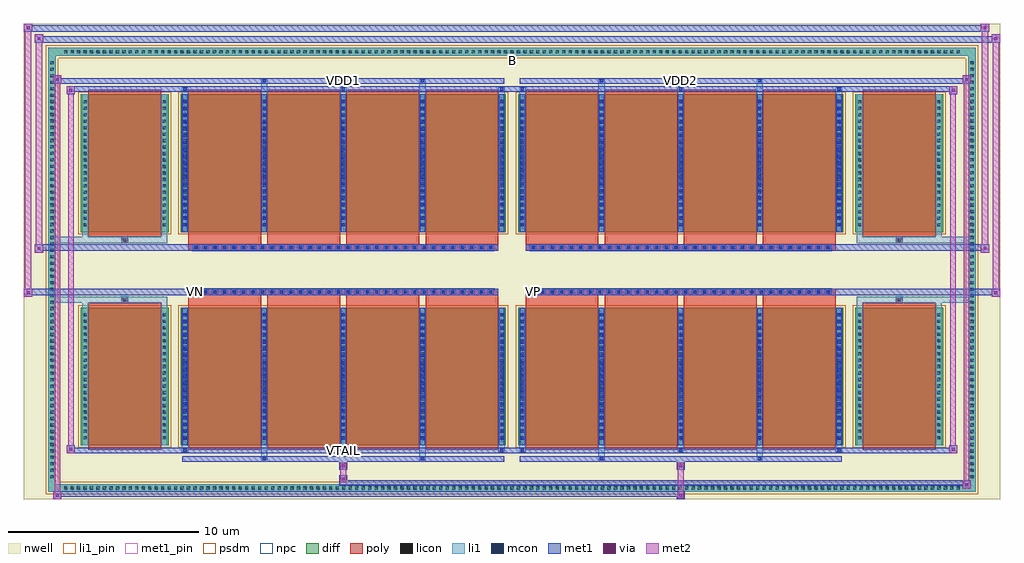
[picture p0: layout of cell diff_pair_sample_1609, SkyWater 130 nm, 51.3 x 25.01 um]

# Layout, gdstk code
import gdstk
lib = gdstk.Library(unit=1e-6, precision=5e-09)
def R(c, l, rs):  # rectangles x0, y0, x1, y1
    for r in rs: c.add(gdstk.rectangle(r[:2], r[2:], *l))
def A(c, l, x, y, w, h, nx, ny, dx, dy):  # array of equal rectangles
    R(c, l, [(x+i*dx, y+j*dy, x+i*dx+w, y+j*dy+h) for i in range(nx) for j in range(ny)])
def P(c, l, *ps):  # polygons
    for p in ps: c.add(gdstk.Polygon(p, *l))
nwell = (64, 20)
diff = (65, 20)
poly = (66, 20)
licon = (66, 44)
li1_pin = (67, 16)
li1 = (67, 20)
mcon = (67, 44)
met1_pin = (68, 16)
met1 = (68, 20)
via = (68, 44)
met2 = (69, 20)
psdm = (94, 20)
npc = (95, 20)

diff_pair_sample_1609 = lib.new_cell('diff_pair_sample_1609')
R(diff_pair_sample_1609, nwell, [(-25.65,-12.07,25.65,12.94), (-22.97,-10.26,-0.01,-0.8), (0.01,-10.26,22.97,-0.8), (-22.97,0.8,-0.01,10.26), (0.01,0.8,22.97,10.26)])
A(diff_pair_sample_1609, diff, -23.665, -11.67, 0.41, 0.41, 139, 2, 0.34, 22.93)
A(diff_pair_sample_1609, diff, -24.38, -11.085, 0.41, 0.41, 1, 65, 0, 0.34)
A(diff_pair_sample_1609, diff, 23.97, -11.085, 0.41, 0.41, 1, 65, 0, 0.34)
R(diff_pair_sample_1609, diff, [(-23.665,-11.67,23.665,-11.26), (-24.38,-11.085,-23.97,11.085), (23.97,-11.085,24.38,11.085), (-22.66,-9.215,-18.05,-1.985), (-17.41,-9.215,-0.32,-1.985), (0.32,-9.215,17.41,-1.985), (18.05,-9.215,22.66,-1.985), (-22.66,1.985,-18.05,9.215), (-17.41,1.985,-0.32,9.215), (0.32,1.985,17.41,9.215), (18.05,1.985,22.66,9.215), (-23.665,11.26,23.665,11.67)])
P(diff_pair_sample_1609, diff, [(24.38,11.67),(-24.38,11.67),(-24.38,-11.26),(-23.97,-11.26),(-23.97,11.26),(23.97,11.26),(23.97,-11.26),(-23.97,-11.26),(-24.38,-11.26),(-24.38,-11.67),(24.38,-11.67)])
A(diff_pair_sample_1609, poly, -17.02, -9.465, 3.83, 7.73, 4, 2, 4.16, 11.2)
A(diff_pair_sample_1609, poly, 0.71, -9.465, 3.83, 7.73, 4, 2, 4.16, 11.2)
A(diff_pair_sample_1609, poly, -17.02, -1.735, 3.83, 0.405, 4, 2, 4.16, 3.065)
A(diff_pair_sample_1609, poly, 0.71, -1.735, 3.83, 0.405, 4, 2, 4.16, 3.065)
A(diff_pair_sample_1609, poly, -16.78, -1.33, 0.33, 0.33, 32, 2, 0.5, 2.33)
A(diff_pair_sample_1609, poly, 0.95, -1.33, 0.33, 0.33, 32, 2, 0.5, 2.33)
R(diff_pair_sample_1609, poly, [(-22.27,-9.465,-18.44,-1.735), (18.44,-9.465,22.27,-1.735), (-20.52,-1.735,-20.19,-1.405), (-20.52,-1.735,-20.19,-1.405), (20.19,-1.735,20.52,-1.405), (20.19,-1.735,20.52,-1.405), (-17.02,-1.33,-0.71,-1), (0.71,-1.33,17.02,-1), (-17.02,1,-0.71,1.33), (0.71,1,17.02,1.33), (-20.52,1.405,-20.19,1.735), (-20.52,1.405,-20.19,1.735), (20.19,1.405,20.52,1.735), (20.19,1.405,20.52,1.735), (-22.27,1.735,-18.44,9.465), (18.44,1.735,22.27,9.465)])
A(diff_pair_sample_1609, licon, -23.545, -11.55, 0.17, 0.17, 139, 2, 0.34, 22.93)
A(diff_pair_sample_1609, licon, -24.26, -10.965, 0.17, 0.17, 1, 65, 0, 0.34)
A(diff_pair_sample_1609, licon, 24.09, -10.965, 0.17, 0.17, 1, 65, 0, 0.34)
A(diff_pair_sample_1609, licon, -22.52, -8.915, 0.17, 0.17, 1, 20, 0, 0.34)
A(diff_pair_sample_1609, licon, -18.36, -8.915, 0.17, 0.17, 1, 20, 0, 0.34)
A(diff_pair_sample_1609, licon, -17.27, -8.915, 0.17, 0.17, 5, 20, 4.16, 0.34)
A(diff_pair_sample_1609, licon, 0.46, -8.915, 0.17, 0.17, 5, 20, 4.16, 0.34)
A(diff_pair_sample_1609, licon, 18.19, -8.915, 0.17, 0.17, 1, 20, 0, 0.34)
A(diff_pair_sample_1609, licon, 22.35, -8.915, 0.17, 0.17, 1, 20, 0, 0.34)
A(diff_pair_sample_1609, licon, -16.7, -1.25, 0.17, 0.17, 32, 2, 0.5, 2.33)
A(diff_pair_sample_1609, licon, 1.03, -1.25, 0.17, 0.17, 32, 2, 0.5, 2.33)
A(diff_pair_sample_1609, licon, -22.52, 2.285, 0.17, 0.17, 1, 20, 0, 0.34)
A(diff_pair_sample_1609, licon, -18.36, 2.285, 0.17, 0.17, 1, 20, 0, 0.34)
A(diff_pair_sample_1609, licon, -17.27, 2.285, 0.17, 0.17, 5, 20, 4.16, 0.34)
A(diff_pair_sample_1609, licon, 0.46, 2.285, 0.17, 0.17, 5, 20, 4.16, 0.34)
A(diff_pair_sample_1609, licon, 18.19, 2.285, 0.17, 0.17, 1, 20, 0, 0.34)
A(diff_pair_sample_1609, licon, 22.35, 2.285, 0.17, 0.17, 1, 20, 0, 0.34)
R(diff_pair_sample_1609, licon, [(-20.44,-1.655,-20.27,-1.485), (20.27,-1.655,20.44,-1.485), (-20.44,1.485,-20.27,1.655), (20.27,1.485,20.44,1.655)])
R(diff_pair_sample_1609, li1_pin, [(-0.25,10.76,0.25,11.26)])
A(diff_pair_sample_1609, li1, -23.625, -11.63, 0.33, 0.33, 139, 2, 0.34, 22.93)
A(diff_pair_sample_1609, li1, -24.34, -11.045, 0.33, 0.33, 1, 65, 0, 0.34)
A(diff_pair_sample_1609, li1, 24.01, -11.045, 0.33, 0.33, 1, 65, 0, 0.34)
A(diff_pair_sample_1609, li1, -17.35, -9.59, 0.33, 0.375, 3, 2, 8.32, 18.805)
A(diff_pair_sample_1609, li1, -17.27, -9.59, 0.17, 0.17, 3, 2, 8.32, 19.01)
A(diff_pair_sample_1609, li1, 0.38, -9.59, 0.33, 0.375, 3, 2, 8.32, 18.805)
A(diff_pair_sample_1609, li1, 0.46, -9.59, 0.17, 0.17, 3, 2, 8.32, 19.01)
A(diff_pair_sample_1609, li1, -17.35, -9.215, 0.33, 7.23, 5, 2, 4.16, 11.2)
A(diff_pair_sample_1609, li1, 0.38, -9.215, 0.33, 7.23, 5, 2, 4.16, 11.2)
A(diff_pair_sample_1609, li1, -22.6, -8.995, 0.33, 0.33, 1, 20, 0, 0.34)
A(diff_pair_sample_1609, li1, -18.44, -8.995, 0.33, 0.33, 1, 20, 0, 0.34)
A(diff_pair_sample_1609, li1, -17.35, -8.995, 0.33, 0.33, 5, 20, 4.16, 0.34)
A(diff_pair_sample_1609, li1, 0.38, -8.995, 0.33, 0.33, 5, 20, 4.16, 0.34)
A(diff_pair_sample_1609, li1, 18.11, -8.995, 0.33, 0.33, 1, 20, 0, 0.34)
A(diff_pair_sample_1609, li1, 22.27, -8.995, 0.33, 0.33, 1, 20, 0, 0.34)
A(diff_pair_sample_1609, li1, -17.27, -8.925, 0.17, 0.17, 5, 19, 4.16, 0.36)
A(diff_pair_sample_1609, li1, -17.27, -8.925, 0.17, 6.65, 5, 2, 4.16, 11.2)
A(diff_pair_sample_1609, li1, 0.46, -8.925, 0.17, 0.17, 5, 19, 4.16, 0.36)
A(diff_pair_sample_1609, li1, 0.46, -8.925, 0.17, 6.65, 5, 2, 4.16, 11.2)
A(diff_pair_sample_1609, li1, -16.78, -1.33, 0.33, 0.33, 32, 2, 0.5, 2.33)
A(diff_pair_sample_1609, li1, 0.95, -1.33, 0.33, 0.33, 32, 2, 0.5, 2.33)
A(diff_pair_sample_1609, li1, -22.6, 2.205, 0.33, 0.33, 1, 20, 0, 0.34)
A(diff_pair_sample_1609, li1, -18.44, 2.205, 0.33, 0.33, 1, 20, 0, 0.34)
A(diff_pair_sample_1609, li1, -17.35, 2.205, 0.33, 0.33, 5, 20, 4.16, 0.34)
A(diff_pair_sample_1609, li1, 0.38, 2.205, 0.33, 0.33, 5, 20, 4.16, 0.34)
A(diff_pair_sample_1609, li1, 18.11, 2.205, 0.33, 0.33, 1, 20, 0, 0.34)
A(diff_pair_sample_1609, li1, 22.27, 2.205, 0.33, 0.33, 1, 20, 0, 0.34)
A(diff_pair_sample_1609, li1, -17.27, 2.275, 0.17, 0.17, 5, 19, 4.16, 0.36)
A(diff_pair_sample_1609, li1, 0.46, 2.275, 0.17, 0.17, 5, 19, 4.16, 0.36)
R(diff_pair_sample_1609, li1, [(-24.38,-11.67,-23.97,-11.26), (-24.38,-11.67,-23.97,-11.26), (-23.97,-11.67,23.97,-11.26), (23.97,-11.67,24.38,-11.26), (23.97,-11.67,24.38,-11.26), (-24.38,-11.26,-23.97,11.26), (23.97,-11.26,24.38,11.26), (-13.19,-10.02,-12.86,-9.215), (-13.11,-10.02,-12.94,-9.85), (-4.87,-10.02,-4.54,-9.215), (-4.79,-10.02,-4.62,-9.85), (4.54,-10.02,4.87,-9.215), (4.62,-10.02,4.79,-9.85), (12.86,-10.02,13.19,-9.215), (12.94,-10.02,13.11,-9.85), (-22.6,-9.215,-22.27,-1.985), (-18.44,-9.215,-18.11,-1.985), (18.11,-9.215,18.44,-1.985), (22.27,-9.215,22.6,-1.985), (-22.6,-1.985,-22.27,-1.405), (-18.44,-1.985,-18.11,-1.405), (18.11,-1.985,18.44,-1.405), (22.27,-1.985,22.6,-1.405), (-24.38,-1.735,-20.52,-1.405), (-22.6,-1.735,-20.52,-1.405), (-20.52,-1.735,-20.19,-1.405), (-20.19,-1.735,-18.11,-1.405), (18.11,-1.735,20.19,-1.405), (20.19,-1.735,20.52,-1.405), (20.19,-1.735,24.38,-1.405), (20.52,-1.735,22.6,-1.405), (-24.38,1.405,-20.52,1.735), (-22.6,1.405,-20.52,1.735), (-22.6,1.405,-22.27,1.985), (-20.52,1.405,-20.19,1.735), (-20.19,1.405,-18.11,1.735), (-18.44,1.405,-18.11,1.985), (18.11,1.405,20.19,1.735), (18.11,1.405,18.44,1.985), (20.19,1.405,20.52,1.735), (20.19,1.405,24.38,1.735), (20.52,1.405,22.6,1.735), (22.27,1.405,22.6,1.985), (-22.6,1.985,-22.27,9.215), (-18.44,1.985,-18.11,9.215), (18.11,1.985,18.44,9.215), (22.27,1.985,22.6,9.215), (-13.19,9.215,-12.86,10.02), (-4.87,9.215,-4.54,10.02), (4.54,9.215,4.87,10.02), (12.86,9.215,13.19,10.02), (-13.11,9.85,-12.94,10.02), (-4.79,9.85,-4.62,10.02), (4.62,9.85,4.79,10.02), (12.94,9.85,13.11,10.02), (-24.38,11.26,-23.97,11.67), (-24.38,11.26,-23.97,11.67), (-23.97,11.26,23.97,11.67), (23.97,11.26,24.38,11.67), (23.97,11.26,24.38,11.67)])
A(diff_pair_sample_1609, mcon, -17.27, -9.59, 0.17, 0.17, 3, 2, 8.32, 19.01)
A(diff_pair_sample_1609, mcon, 0.46, -9.59, 0.17, 0.17, 3, 2, 8.32, 19.01)
A(diff_pair_sample_1609, mcon, -17.27, -8.925, 0.17, 0.17, 5, 19, 4.16, 0.36)
A(diff_pair_sample_1609, mcon, 0.46, -8.925, 0.17, 0.17, 5, 19, 4.16, 0.36)
A(diff_pair_sample_1609, mcon, -16.7, -1.25, 0.17, 0.17, 32, 2, 0.5, 2.33)
A(diff_pair_sample_1609, mcon, 1.03, -1.25, 0.17, 0.17, 32, 2, 0.5, 2.33)
A(diff_pair_sample_1609, mcon, -17.27, 2.275, 0.17, 0.17, 5, 19, 4.16, 0.36)
A(diff_pair_sample_1609, mcon, 0.46, 2.275, 0.17, 0.17, 5, 19, 4.16, 0.36)
R(diff_pair_sample_1609, mcon, [(-13.11,-10.02,-12.94,-9.85), (-4.79,-10.02,-4.62,-9.85), (4.62,-10.02,4.79,-9.85), (12.94,-10.02,13.11,-9.85), (-13.11,9.85,-12.94,10.02), (-4.79,9.85,-4.62,10.02), (4.62,9.85,4.79,10.02), (12.94,9.85,13.11,10.02)])
R(diff_pair_sample_1609, met1_pin, [(-9,-9.63,-8.73,-9.36), (-16.75,-1.29,-16.48,-1.02), (0.98,-1.29,1.25,-1.02), (-9,9.81,-8.73,10.08), (8.73,9.81,9,10.08)])
A(diff_pair_sample_1609, met1, -17.33, -9.65, 0.29, 0.29, 3, 2, 8.32, 19.01)
A(diff_pair_sample_1609, met1, 0.4, -9.65, 0.29, 0.29, 3, 2, 8.32, 19.01)
A(diff_pair_sample_1609, met1, -17.33, -9.215, 0.29, 7.23, 5, 2, 4.16, 11.2)
A(diff_pair_sample_1609, met1, 0.4, -9.215, 0.29, 7.23, 5, 2, 4.16, 11.2)
A(diff_pair_sample_1609, met1, -17.33, -8.985, 0.29, 0.29, 5, 19, 4.16, 0.36)
A(diff_pair_sample_1609, met1, 0.4, -8.985, 0.29, 0.29, 5, 19, 4.16, 0.36)
A(diff_pair_sample_1609, met1, -16.76, -1.31, 0.29, 0.29, 32, 2, 0.5, 2.33)
A(diff_pair_sample_1609, met1, 0.97, -1.31, 0.29, 0.29, 32, 2, 0.5, 2.33)
A(diff_pair_sample_1609, met1, -17.33, 2.215, 0.29, 0.29, 5, 19, 4.16, 0.36)
A(diff_pair_sample_1609, met1, 0.4, 2.215, 0.29, 0.29, 5, 19, 4.16, 0.36)
R(diff_pair_sample_1609, met1, [(-24.11,-12.07,-23.68,-11.64), (8.65,-12.07,9.08,-11.64), (-24.11,-11.93,9.08,-11.64), (23.68,-11.5,24.11,-11.07), (-9.08,-11.36,24.11,-11.07), (-9.08,-11.22,-8.65,-10.79), (-9.08,-10.51,-8.65,-10.08), (8.65,-10.51,9.08,-10.08), (-17.33,-10.08,-0.4,-9.79), (-13.17,-10.08,-12.88,-9.79), (-4.85,-10.08,-4.56,-9.79), (0.4,-10.08,17.33,-9.79), (4.56,-10.08,4.85,-9.79), (12.88,-10.08,13.17,-9.79), (-23.4,-9.65,-22.97,-9.22), (-23.4,-9.65,-17.33,-9.36), (-17.33,-9.65,-0.4,-9.36), (-0.4,-9.65,0.4,-9.36), (0.4,-9.65,17.33,-9.36), (17.33,-9.65,23.4,-9.36), (22.97,-9.65,23.4,-9.22), (-25.65,-1.43,-25.22,-1), (25.22,-1.43,25.65,-1), (-25.65,-1.33,-0.71,-1), (-17.02,-1.33,-0.71,-1), (0.71,-1.33,17.02,-1), (0.71,-1.33,25.65,-1), (-25.08,0.9,-24.65,1.33), (24.65,0.9,25.08,1.33), (-25.08,1,-17.02,1.33), (-17.02,1,-0.71,1.33), (0.71,1,17.02,1.33), (17.02,1,25.08,1.33), (-23.4,9.22,-22.97,9.65), (22.97,9.22,23.4,9.65), (-23.4,9.36,-17.33,9.65), (-17.33,9.36,-0.4,9.65), (-0.4,9.36,0.4,9.65), (0.4,9.36,17.33,9.65), (17.33,9.36,23.4,9.65), (-24.11,9.79,-23.68,10.22), (-24.11,9.79,-17.33,10.08), (-17.33,9.79,-0.4,10.08), (-13.17,9.79,-12.88,10.08), (-4.85,9.79,-4.56,10.08), (0.4,9.79,17.33,10.08), (4.56,9.79,4.85,10.08), (12.88,9.79,13.17,10.08), (17.33,9.79,24.11,10.08), (23.68,9.79,24.11,10.22), (-25.08,11.94,-24.65,12.37), (-25.08,11.94,-22.97,12.27), (-22.97,11.94,22.97,12.27), (22.97,11.94,25.65,12.27), (25.22,11.94,25.65,12.37), (-25.65,12.51,-25.22,12.94), (-25.65,12.51,-22.97,12.84), (-22.97,12.51,22.97,12.84), (22.97,12.51,25.08,12.84), (24.65,12.51,25.08,12.94)])
R(diff_pair_sample_1609, via, [(-23.97,-11.93,-23.82,-11.78), (8.79,-11.93,8.94,-11.78), (23.82,-11.36,23.97,-11.21), (-8.94,-11.08,-8.79,-10.93), (-8.94,-10.37,-8.79,-10.22), (8.79,-10.37,8.94,-10.22), (-23.26,-9.51,-23.11,-9.36), (23.11,-9.51,23.26,-9.36), (-25.51,-1.29,-25.36,-1.14), (25.36,-1.29,25.51,-1.14), (-24.94,1.04,-24.79,1.19), (24.79,1.04,24.94,1.19), (-23.26,9.36,-23.11,9.51), (23.11,9.36,23.26,9.51), (-23.97,9.93,-23.82,10.08), (23.82,9.93,23.97,10.08), (-24.94,12.08,-24.79,12.23), (25.36,12.08,25.51,12.23), (-25.51,12.65,-25.36,12.8), (24.79,12.65,24.94,12.8)])
R(diff_pair_sample_1609, met2, [(-24.11,-12.07,-23.68,-11.64), (-24.04,-12.07,-23.75,10.22), (-23.75,-12.07,-23.68,-11.64), (-24.06,-12.02,-23.73,-11.69), (8.7,-12.02,9.03,-11.69), (8.7,-11.69,9.03,-10.46), (23.68,-11.5,24.11,-11.07), (23.75,-11.5,24.04,10.22), (24.04,-11.5,24.11,-11.07), (23.73,-11.45,24.06,-11.12), (-9.03,-11.17,-8.7,-10.84), (-9.03,-10.84,-8.7,-10.46), (-9.03,-10.46,-8.7,-10.13), (8.7,-10.46,9.03,-10.13), (-23.4,-9.65,-22.97,-9.22), (-23.33,-9.65,-23.04,9.65), (-23.04,-9.65,-22.97,-9.22), (22.97,-9.65,23.4,-9.22), (23.04,-9.65,23.33,9.65), (23.33,-9.65,23.4,-9.22), (-23.35,-9.6,-23.02,-9.27), (23.02,-9.6,23.35,-9.27), (-25.65,-1.43,-25.22,-1), (-25.6,-1.43,-25.27,12.94), (-25.27,-1.43,-25.22,-1), (25.22,-1.43,25.65,-1), (25.27,-1.43,25.6,12.37), (25.6,-1.43,25.65,-1), (-25.6,-1.38,-25.27,-1.05), (25.27,-1.38,25.6,-1.05), (-25.08,0.9,-24.65,1.33), (-25.03,0.9,-24.7,12.37), (-24.7,0.9,-24.65,1.33), (24.65,0.9,25.08,1.33), (24.7,0.9,25.03,12.94), (25.03,0.9,25.08,1.33), (-25.03,0.95,-24.7,1.28), (24.7,0.95,25.03,1.28), (-23.4,9.22,-22.97,9.65), (-23.04,9.22,-22.97,9.65), (22.97,9.22,23.4,9.65), (23.33,9.22,23.4,9.65), (-23.35,9.27,-23.02,9.6), (23.02,9.27,23.35,9.6), (-24.11,9.79,-23.68,10.22), (-23.75,9.79,-23.68,10.22), (23.68,9.79,24.11,10.22), (24.04,9.79,24.11,10.22), (-24.06,9.84,-23.73,10.17), (23.73,9.84,24.06,10.17), (-25.08,11.94,-24.65,12.37), (-24.7,11.94,-24.65,12.37), (25.22,11.94,25.65,12.37), (25.6,11.94,25.65,12.37), (-25.03,11.99,-24.7,12.32), (25.27,11.99,25.6,12.32), (-25.65,12.51,-25.22,12.94), (-25.27,12.51,-25.22,12.94), (24.65,12.51,25.08,12.94), (25.03,12.51,25.08,12.94), (-25.6,12.56,-25.27,12.89), (24.7,12.56,25.03,12.89)])
R(diff_pair_sample_1609, psdm, [(-22.79,-9.345,-17.92,-1.855), (-17.54,-9.345,-0.19,-1.855), (0.19,-9.345,17.54,-1.855), (17.92,-9.345,22.79,-1.855), (-22.79,1.855,-17.92,9.345), (-17.54,1.855,-0.19,9.345), (0.19,1.855,17.54,9.345), (17.92,1.855,22.79,9.345)])
P(diff_pair_sample_1609, psdm, [(24.51,11.8),(-24.51,11.8),(-24.51,-11.13),(-23.84,-11.13),(-23.84,11.13),(23.84,11.13),(23.84,-11.13),(-23.84,-11.13),(-24.51,-11.13),(-24.51,-11.8),(24.51,-11.8)])
A(diff_pair_sample_1609, npc, -16.8, -1.35, 0.37, 0.37, 32, 2, 0.5, 2.33)
A(diff_pair_sample_1609, npc, 0.93, -1.35, 0.37, 0.37, 32, 2, 0.5, 2.33)
R(diff_pair_sample_1609, npc, [(-20.54,-1.755,-20.17,-1.385), (20.17,-1.755,20.54,-1.385), (-16.8,-1.35,-15.93,-0.98), (-16.8,-1.35,-15.93,-0.98), (-16.3,-1.35,-15.43,-0.98), (-16.3,-1.35,-15.43,-0.98), (-15.8,-1.35,-14.93,-0.98), (-15.8,-1.35,-14.93,-0.98), (-15.3,-1.35,-14.43,-0.98), (-15.3,-1.35,-14.43,-0.98), (-14.8,-1.35,-13.93,-0.98), (-14.8,-1.35,-13.93,-0.98), (-14.3,-1.35,-13.43,-0.98), (-14.3,-1.35,-13.43,-0.98), (-13.8,-1.35,-12.93,-0.98), (-13.8,-1.35,-12.93,-0.98), (-13.3,-1.35,-12.43,-0.98), (-13.3,-1.35,-12.43,-0.98), (-12.8,-1.35,-11.93,-0.98), (-12.8,-1.35,-11.93,-0.98), (-12.3,-1.35,-11.43,-0.98), (-12.3,-1.35,-11.43,-0.98), (-11.8,-1.35,-10.93,-0.98), (-11.8,-1.35,-10.93,-0.98), (-11.3,-1.35,-10.43,-0.98), (-11.3,-1.35,-10.43,-0.98), (-10.8,-1.35,-9.93,-0.98), (-10.8,-1.35,-9.93,-0.98), (-10.3,-1.35,-9.43,-0.98), (-10.3,-1.35,-9.43,-0.98), (-9.8,-1.35,-8.93,-0.98), (-9.8,-1.35,-8.93,-0.98), (-9.3,-1.35,-8.43,-0.98), (-9.3,-1.35,-8.43,-0.98), (-8.8,-1.35,-7.93,-0.98), (-8.8,-1.35,-7.93,-0.98), (-8.3,-1.35,-7.43,-0.98), (-8.3,-1.35,-7.43,-0.98), (-7.8,-1.35,-6.93,-0.98), (-7.8,-1.35,-6.93,-0.98), (-7.3,-1.35,-6.43,-0.98), (-7.3,-1.35,-6.43,-0.98), (-6.8,-1.35,-5.93,-0.98), (-6.8,-1.35,-5.93,-0.98), (-6.3,-1.35,-5.43,-0.98), (-6.3,-1.35,-5.43,-0.98), (-5.8,-1.35,-4.93,-0.98), (-5.8,-1.35,-4.93,-0.98), (-5.3,-1.35,-4.43,-0.98), (-5.3,-1.35,-4.43,-0.98), (-4.8,-1.35,-3.93,-0.98), (-4.8,-1.35,-3.93,-0.98), (-4.3,-1.35,-3.43,-0.98), (-4.3,-1.35,-3.43,-0.98), (-3.8,-1.35,-2.93,-0.98), (-3.8,-1.35,-2.93,-0.98), (-3.3,-1.35,-2.43,-0.98), (-3.3,-1.35,-2.43,-0.98), (-2.8,-1.35,-1.93,-0.98), (-2.8,-1.35,-1.93,-0.98), (-2.3,-1.35,-1.43,-0.98), (-2.3,-1.35,-1.43,-0.98), (-1.8,-1.35,-0.93,-0.98), (-1.8,-1.35,-0.93,-0.98), (0.93,-1.35,1.8,-0.98), (0.93,-1.35,1.8,-0.98), (1.43,-1.35,2.3,-0.98), (1.43,-1.35,2.3,-0.98), (1.93,-1.35,2.8,-0.98), (1.93,-1.35,2.8,-0.98), (2.43,-1.35,3.3,-0.98), (2.43,-1.35,3.3,-0.98), (2.93,-1.35,3.8,-0.98), (2.93,-1.35,3.8,-0.98), (3.43,-1.35,4.3,-0.98), (3.43,-1.35,4.3,-0.98), (3.93,-1.35,4.8,-0.98), (3.93,-1.35,4.8,-0.98), (4.43,-1.35,5.3,-0.98), (4.43,-1.35,5.3,-0.98), (4.93,-1.35,5.8,-0.98), (4.93,-1.35,5.8,-0.98), (5.43,-1.35,6.3,-0.98), (5.43,-1.35,6.3,-0.98), (5.93,-1.35,6.8,-0.98), (5.93,-1.35,6.8,-0.98), (6.43,-1.35,7.3,-0.98), (6.43,-1.35,7.3,-0.98), (6.93,-1.35,7.8,-0.98), (6.93,-1.35,7.8,-0.98), (7.43,-1.35,8.3,-0.98), (7.43,-1.35,8.3,-0.98), (7.93,-1.35,8.8,-0.98), (7.93,-1.35,8.8,-0.98), (8.43,-1.35,9.3,-0.98), (8.43,-1.35,9.3,-0.98), (8.93,-1.35,9.8,-0.98), (8.93,-1.35,9.8,-0.98), (9.43,-1.35,10.3,-0.98), (9.43,-1.35,10.3,-0.98), (9.93,-1.35,10.8,-0.98), (9.93,-1.35,10.8,-0.98), (10.43,-1.35,11.3,-0.98), (10.43,-1.35,11.3,-0.98), (10.93,-1.35,11.8,-0.98), (10.93,-1.35,11.8,-0.98), (11.43,-1.35,12.3,-0.98), (11.43,-1.35,12.3,-0.98), (11.93,-1.35,12.8,-0.98), (11.93,-1.35,12.8,-0.98), (12.43,-1.35,13.3,-0.98), (12.43,-1.35,13.3,-0.98), (12.93,-1.35,13.8,-0.98), (12.93,-1.35,13.8,-0.98), (13.43,-1.35,14.3,-0.98), (13.43,-1.35,14.3,-0.98), (13.93,-1.35,14.8,-0.98), (13.93,-1.35,14.8,-0.98), (14.43,-1.35,15.3,-0.98), (14.43,-1.35,15.3,-0.98), (14.93,-1.35,15.8,-0.98), (14.93,-1.35,15.8,-0.98), (15.43,-1.35,16.3,-0.98), (15.43,-1.35,16.3,-0.98), (15.93,-1.35,16.8,-0.98), (15.93,-1.35,16.8,-0.98), (-16.8,0.98,-15.93,1.35), (-16.8,0.98,-15.93,1.35), (-16.3,0.98,-15.43,1.35), (-16.3,0.98,-15.43,1.35), (-15.8,0.98,-14.93,1.35), (-15.8,0.98,-14.93,1.35), (-15.3,0.98,-14.43,1.35), (-15.3,0.98,-14.43,1.35), (-14.8,0.98,-13.93,1.35), (-14.8,0.98,-13.93,1.35), (-14.3,0.98,-13.43,1.35), (-14.3,0.98,-13.43,1.35), (-13.8,0.98,-12.93,1.35), (-13.8,0.98,-12.93,1.35), (-13.3,0.98,-12.43,1.35), (-13.3,0.98,-12.43,1.35), (-12.8,0.98,-11.93,1.35), (-12.8,0.98,-11.93,1.35), (-12.3,0.98,-11.43,1.35), (-12.3,0.98,-11.43,1.35), (-11.8,0.98,-10.93,1.35), (-11.8,0.98,-10.93,1.35), (-11.3,0.98,-10.43,1.35), (-11.3,0.98,-10.43,1.35), (-10.8,0.98,-9.93,1.35), (-10.8,0.98,-9.93,1.35), (-10.3,0.98,-9.43,1.35), (-10.3,0.98,-9.43,1.35), (-9.8,0.98,-8.93,1.35), (-9.8,0.98,-8.93,1.35), (-9.3,0.98,-8.43,1.35), (-9.3,0.98,-8.43,1.35), (-8.8,0.98,-7.93,1.35), (-8.8,0.98,-7.93,1.35), (-8.3,0.98,-7.43,1.35), (-8.3,0.98,-7.43,1.35), (-7.8,0.98,-6.93,1.35), (-7.8,0.98,-6.93,1.35), (-7.3,0.98,-6.43,1.35), (-7.3,0.98,-6.43,1.35), (-6.8,0.98,-5.93,1.35), (-6.8,0.98,-5.93,1.35), (-6.3,0.98,-5.43,1.35), (-6.3,0.98,-5.43,1.35), (-5.8,0.98,-4.93,1.35), (-5.8,0.98,-4.93,1.35), (-5.3,0.98,-4.43,1.35), (-5.3,0.98,-4.43,1.35), (-4.8,0.98,-3.93,1.35), (-4.8,0.98,-3.93,1.35), (-4.3,0.98,-3.43,1.35), (-4.3,0.98,-3.43,1.35), (-3.8,0.98,-2.93,1.35), (-3.8,0.98,-2.93,1.35), (-3.3,0.98,-2.43,1.35), (-3.3,0.98,-2.43,1.35), (-2.8,0.98,-1.93,1.35), (-2.8,0.98,-1.93,1.35), (-2.3,0.98,-1.43,1.35), (-2.3,0.98,-1.43,1.35), (-1.8,0.98,-0.93,1.35), (-1.8,0.98,-0.93,1.35), (0.93,0.98,1.8,1.35), (0.93,0.98,1.8,1.35), (1.43,0.98,2.3,1.35), (1.43,0.98,2.3,1.35), (1.93,0.98,2.8,1.35), (1.93,0.98,2.8,1.35), (2.43,0.98,3.3,1.35), (2.43,0.98,3.3,1.35), (2.93,0.98,3.8,1.35), (2.93,0.98,3.8,1.35), (3.43,0.98,4.3,1.35), (3.43,0.98,4.3,1.35), (3.93,0.98,4.8,1.35), (3.93,0.98,4.8,1.35), (4.43,0.98,5.3,1.35), (4.43,0.98,5.3,1.35), (4.93,0.98,5.8,1.35), (4.93,0.98,5.8,1.35), (5.43,0.98,6.3,1.35), (5.43,0.98,6.3,1.35), (5.93,0.98,6.8,1.35), (5.93,0.98,6.8,1.35), (6.43,0.98,7.3,1.35), (6.43,0.98,7.3,1.35), (6.93,0.98,7.8,1.35), (6.93,0.98,7.8,1.35), (7.43,0.98,8.3,1.35), (7.43,0.98,8.3,1.35), (7.93,0.98,8.8,1.35), (7.93,0.98,8.8,1.35), (8.43,0.98,9.3,1.35), (8.43,0.98,9.3,1.35), (8.93,0.98,9.8,1.35), (8.93,0.98,9.8,1.35), (9.43,0.98,10.3,1.35), (9.43,0.98,10.3,1.35), (9.93,0.98,10.8,1.35), (9.93,0.98,10.8,1.35), (10.43,0.98,11.3,1.35), (10.43,0.98,11.3,1.35), (10.93,0.98,11.8,1.35), (10.93,0.98,11.8,1.35), (11.43,0.98,12.3,1.35), (11.43,0.98,12.3,1.35), (11.93,0.98,12.8,1.35), (11.93,0.98,12.8,1.35), (12.43,0.98,13.3,1.35), (12.43,0.98,13.3,1.35), (12.93,0.98,13.8,1.35), (12.93,0.98,13.8,1.35), (13.43,0.98,14.3,1.35), (13.43,0.98,14.3,1.35), (13.93,0.98,14.8,1.35), (13.93,0.98,14.8,1.35), (14.43,0.98,15.3,1.35), (14.43,0.98,15.3,1.35), (14.93,0.98,15.8,1.35), (14.93,0.98,15.8,1.35), (15.43,0.98,16.3,1.35), (15.43,0.98,16.3,1.35), (15.93,0.98,16.8,1.35), (15.93,0.98,16.8,1.35), (-20.54,1.385,-20.17,1.755), (20.17,1.385,20.54,1.755)])
diff_pair_sample_1609.add(gdstk.Label('VTAIL', (-8.865,-9.495), layer=68, texttype=5))
diff_pair_sample_1609.add(gdstk.Label('VN', (-16.615,-1.155), layer=68, texttype=5))
diff_pair_sample_1609.add(gdstk.Label('VP', (1.115,-1.155), layer=68, texttype=5))
diff_pair_sample_1609.add(gdstk.Label('B', (0,11.01), layer=67, texttype=5))
diff_pair_sample_1609.add(gdstk.Label('VDD2', (8.865,9.945), layer=68, texttype=5))
diff_pair_sample_1609.add(gdstk.Label('VDD1', (-8.865,9.945), layer=68, texttype=5))

lib.write_gds('diff_pair_sample_1609.gds')
